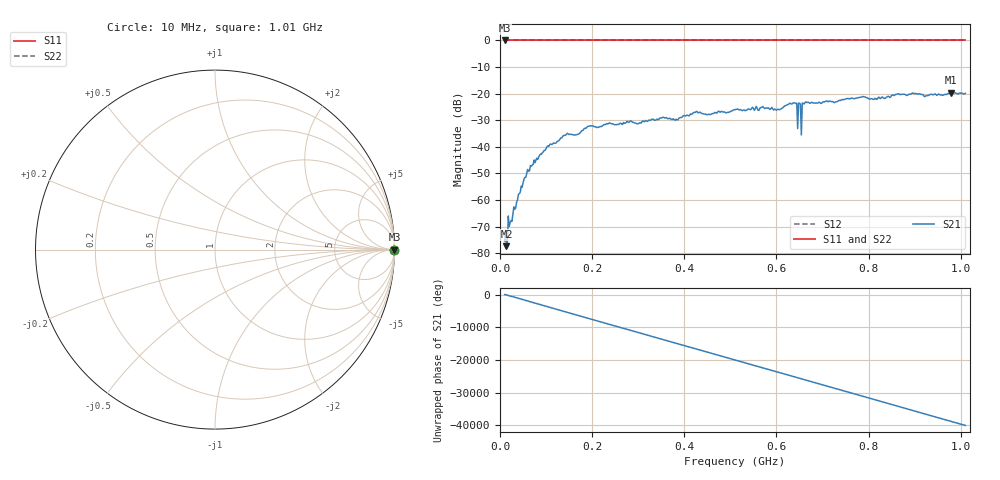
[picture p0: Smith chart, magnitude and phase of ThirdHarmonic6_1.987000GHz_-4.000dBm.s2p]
! 8/16/2025 11:53:03 PM
! C:\ANRITSUVNA\TEMP\TEMP.S2P
! CHANNEL.1
! TR.MEASUREMENT
! RAW.DATA
! RF.CORRECTION.OFF
! AVERAGING.OFF
! IF.BANDWIDTH: 5KHZ
! SWEEPTYPE:  FREQ.SWEEP(Linear)
! Reference Plane Port Info
! PORT:  PORT1  PORT2
! DISTANCE:  0  m  0  m
! TIME:  0  s  0  s
! PHASE.OFFSET:  0  deg.  0  deg.
! LOSS:  0  dB  0  dB
! REF.LOSS:  0  dB  0  dB
! REF.FREQ:  0  Hz  0  Hz
! Power Info
! POWER:  -20  dBm  -20  dBm
! EFF.POWER:  -20  dBm  -20  dBm
! SOURCE.ATTEN:  0  dB  0  dB
! TEST.ATTEN:  0  dB  0  dB
# GHZ S RI R 50.0
! FREQ.GHZ  S11RE  S11IM  S21RE  S21IM  S12RE  S12IM  S22RE  S22IM
!; PortSelection: Port_12
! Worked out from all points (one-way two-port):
!   501 points, 10 MHz to 1.01 GHz, reference 50 ohm
!   highest |S21| = -19.63 dB at 978 MHz (marker M1); lowest = -77.4 dB at 14 MHz (marker M2)
!   lowest |S11| = 0.0 dB at 10 MHz (marker M3)
!   |S11| at or under -10 dB: nowhere
!   |S22| runs from 0.0 to 0.0 dB; largest |S21 - S12| = 1.1
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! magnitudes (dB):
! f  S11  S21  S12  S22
! 10 MHz  0.0  -75.4  0.0  0.0
! 14 MHz  0.0  -77.4  0.0  0.0
! 50 MHz  0.0  -53.5  0.0  0.0
! 70 MHz  0.0  -46.9  0.0  0.0
! 106 MHz  0.0  -39.8  0.0  0.0
! 142 MHz  0.0  -35.6  0.0  0.0
! 178 MHz  0.0  -33.9  0.0  0.0
! 196 MHz  0.0  -32.1  0.0  0.0
! 344 MHz  0.0  -29.8  0.0  0.0
! 510 MHz  0.0  -26.0  0.0  0.0
! 604 MHz  0.0  -25.9  0.0  0.0
! 640 MHz  0.0  -23.5  0.0  0.0
! 642 MHz  0.0  -23.7  0.0  0.0
! 648 MHz  0.0  -23.6  0.0  0.0
! 650 MHz  0.0  -23.6  0.0  0.0
! 652 MHz  0.0  -24.0  0.0  0.0
! 658 MHz  0.0  -23.6  0.0  0.0
! 660 MHz  0.0  -23.9  0.0  0.0
! 678 MHz  0.0  -23.3  0.0  0.0
! 844 MHz  0.0  -21.1  0.0  0.0
! 978 MHz  0.0  -19.6  0.0  0.0
! 1.01 GHz  0.0  -19.9  0.0  0.0
